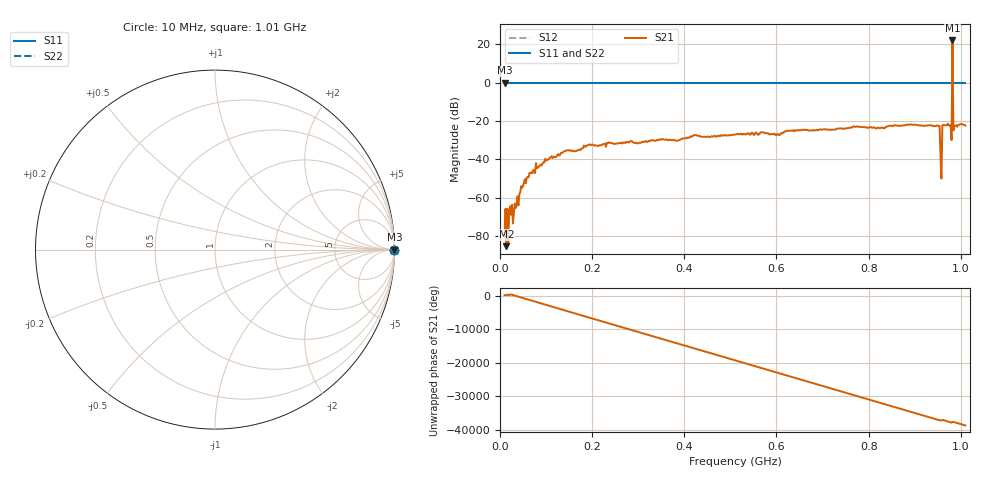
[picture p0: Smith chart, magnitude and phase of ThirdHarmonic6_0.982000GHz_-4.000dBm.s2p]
! 8/16/2025 7:37:28 AM
! C:\ANRITSUVNA\TEMP\TEMP.S2P
! CHANNEL.1
! TR.MEASUREMENT
! RAW.DATA
! RF.CORRECTION.OFF
! AVERAGING.OFF
! IF.BANDWIDTH: 5KHZ
! SWEEPTYPE:  FREQ.SWEEP(Linear)
! Reference Plane Port Info
! PORT:  PORT1  PORT2
! DISTANCE:  0  m  0  m
! TIME:  0  s  0  s
! PHASE.OFFSET:  0  deg.  0  deg.
! LOSS:  0  dB  0  dB
! REF.LOSS:  0  dB  0  dB
! REF.FREQ:  0  Hz  0  Hz
! Power Info
! POWER:  -20  dBm  -20  dBm
! EFF.POWER:  -20  dBm  -20  dBm
! SOURCE.ATTEN:  0  dB  0  dB
! TEST.ATTEN:  0  dB  0  dB
# GHZ S RI R 50.0
! FREQ.GHZ  S11RE  S11IM  S21RE  S21IM  S12RE  S12IM  S22RE  S22IM
!; PortSelection: Port_12
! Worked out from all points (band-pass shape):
!   501 points, 10 MHz to 1.01 GHz, reference 50 ohm
!   highest |S21| = 22.00 dB at 982 MHz (marker M1); lowest = -85.4 dB at 14 MHz (marker M2)
!   |S21| within 3 dB of the highest: 981.8845 MHz to 982.1276 MHz (243.1 kHz wide, 0.0248 % of centre)
!   lowest |S11| = 0.0 dB at 10 MHz (marker M3)
!   |S11| at or under -10 dB: nowhere
!   |S22| runs from 0.0 to 0.0 dB; largest |S21 - S12| = 13
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0.01  1 0  -4.39e-05 8.38e-05  1 0  1 0
0.014  1 0  -5.34e-05 -8.1e-06  1 0  1 0
0.024  1 0  0.000215 -0.000286  1 0  1 0
0.032  1 0  0.000692 -0.000112  1 0  1 0
0.05  1 0  0.00198 -0.000416  1 0  1 0
0.068  1 0  0.00392 -0.0023  1 0  1 0
0.108  1 0  -0.00871 0.0066  1 0  1 0
0.178  1 0  -0.0185 -0.00465  1 0  1 0
0.344  1 0  0.0313 -0.00438  1 0  1 0
0.51  1 0  -0.0427 0.0107  1 0  1 0
0.678  1 0  -0.0162 -0.0531  1 0  1 0
0.844  1 0  0.0388 0.0629  1 0  1 0
0.95  1 0  -0.0201 0.0734  1 0  1 0
0.954  1 0  0.0451 -0.0586  1 0  1 0
0.96  1 0  0.0335 0.0696  1 0  1 0
0.964  1 0  -0.00982 -0.0773  1 0  1 0
0.976  1 0  -0.0587 0.0485  1 0  1 0
0.978  1 0  0.037 0.0682  1 0  1 0
0.982  1 0  -10.31 7.238  1 0  1 0
0.986  1 0  -0.0101 0.0718  1 0  1 0
0.988  1 0  0.0702 0.0266  1 0  1 0
1.01  1 0  -0.0672 -0.0351  1 0  1 0
